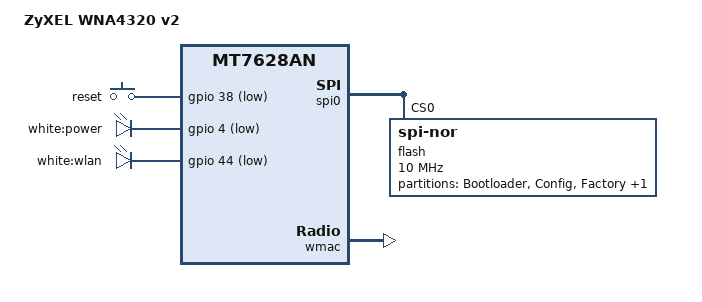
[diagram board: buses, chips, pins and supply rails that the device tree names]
#include "mt7628an.dtsi"

#include <dt-bindings/input/input.h>
#include <dt-bindings/gpio/gpio.h>

/ {
	compatible = "zyxel,wna4320-v2", "mediatek,mt7628an-soc";
	model = "ZyXEL WNA4320 v2";

	aliases {
		led-boot = &led_wlan;
		led-failsafe = &led_wlan;
		led-running = &led_wlan;
		led-upgrade = &led_wlan;
	};

	chosen {
		bootargs = "console=ttyS0,115200";
	};

	keys {
		compatible = "gpio-keys";

		reset {
			label = "reset";
			gpios = <&gpio 38 GPIO_ACTIVE_LOW>;
			linux,code = <KEY_RESTART>;
		};
	};

	leds {
		compatible = "gpio-leds";

		power {
			label = "white:power";
			gpios = <&gpio 4 GPIO_ACTIVE_LOW>;
		};

		led_wlan: wlan {
			label = "white:wlan";
			gpios = <&gpio 44 GPIO_ACTIVE_LOW>;
		};
	};
};

&state_default {
	gpio {
		groups = "gpio";
		function = "gpio";
	};
};

&spi0 {
	status = "okay";

	flash@0 {
		compatible = "jedec,spi-nor";
		reg = <0>;
		spi-max-frequency = <10000000>;

		partitions {
			compatible = "fixed-partitions";
			#address-cells = <1>;
			#size-cells = <1>;

			partition@0 {
				label = "Bootloader";
				reg = <0x0 0x30000>;
				read-only;
			};

			partition@30000 {
				label = "Config";
				reg = <0x30000 0x10000>;
				read-only;
			};

			factory: partition@40000 {
				label = "Factory";
				reg = <0x40000 0x10000>;
				read-only;
			};

			partition@50000 {
				compatible = "denx,uimage";
				label = "firmware";
				reg = <0x50000 0x7b0000>;
			};
		};
	};
};

&wmac {
	status = "okay";

	mediatek,mtd-eeprom = <&factory 0x0>;
};

&ethernet {
	nvmem-cells = <&macaddr_factory_2e>;
	nvmem-cell-names = "mac-address";
};

&esw {
	mediatek,portmap = <0x2f>;
};

&factory {
	compatible = "nvmem-cells";
	#address-cells = <1>;
	#size-cells = <1>;

	macaddr_factory_2e: macaddr@2e {
		reg = <0x2e 0x6>;
	};
};
